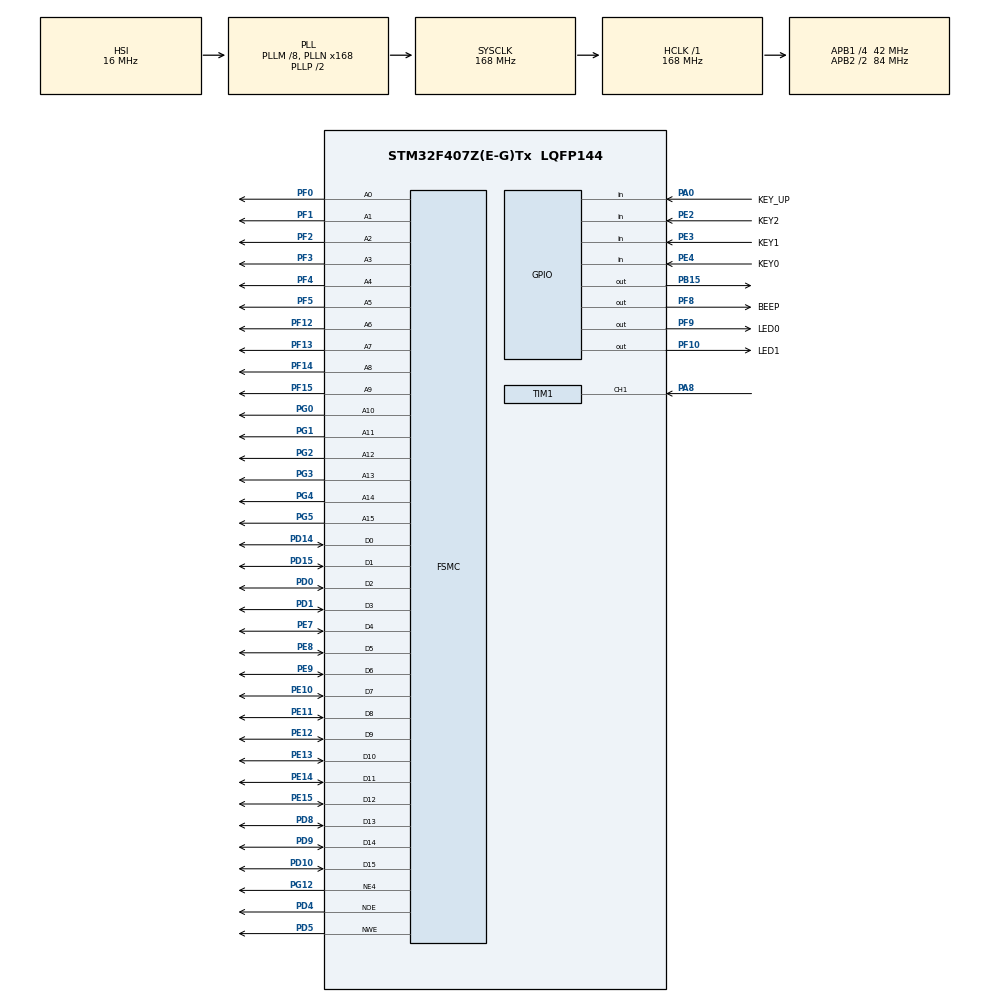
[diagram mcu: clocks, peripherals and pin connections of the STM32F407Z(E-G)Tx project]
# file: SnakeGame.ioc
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FREERTOS.Tasks01=GameTask,0,128,StartDefaultTask,Default,NULL,Dynamic,NULL,NULL;KeyTask,1,128,StartTask02,Default,NULL,Dynamic,NULL,NULL;BuzzerTask,-3,128,StartTask03,Default,NULL,Dynamic,NULL,NULL
FSMC.BusTurnAroundDuration4=0
FSMC.DataSetupTime4=60
FSMC.ExtendedMode4=FSMC_EXTENDED_MODE_DISABLE
FSMC.WriteOperation4=FSMC_WRITE_OPERATION_ENABLE
Mcu.Family=STM32F4
Mcu.Name=STM32F407Z(E-G)Tx
Mcu.Package=LQFP144
NVIC.PriorityGroup=NVIC_PRIORITYGROUP_4
NVIC.TIM1_CC_IRQn=true\:5\:0\:false\:false\:true\:true\:true\:true\:true
NVIC.TIM1_UP_TIM10_IRQn=true\:5\:0\:false\:false\:true\:true\:true\:true\:true
NVIC.TIM3_IRQn=true\:5\:0\:false\:false\:true\:true\:true\:true\:true
NVIC.TIM4_IRQn=true\:15\:0\:false\:false\:true\:false\:false\:true\:true
NVIC.TimeBase=TIM4_IRQn
NVIC.TimeBaseIP=TIM4
PA0-WKUP.GPIO_Label=KEY_UP
PA0-WKUP.GPIO_PuPd=GPIO_PULLDOWN
PA0-WKUP.Signal=GPIO_Input
PA13.Mode=Serial_Wire
PA13.Signal=SYS_JTMS-SWDIO
PA14.Mode=Serial_Wire
PA14.Signal=SYS_JTCK-SWCLK
PA8.Signal=S_TIM1_CH1
PB15.Signal=GPIO_Output
PD0.Signal=FSMC_D2_DA2
PD1.Signal=FSMC_D3_DA3
PD10.Signal=FSMC_D15_DA15
PD14.Signal=FSMC_D0_DA0
PD15.Signal=FSMC_D1_DA1
PD4.Signal=FSMC_NOE
PD5.Signal=FSMC_NWE
PD8.Signal=FSMC_D13_DA13
PD9.Signal=FSMC_D14_DA14
PE10.Signal=FSMC_D7_DA7
PE11.Signal=FSMC_D8_DA8
PE12.Signal=FSMC_D9_DA9
PE13.Signal=FSMC_D10_DA10
PE14.Signal=FSMC_D11_DA11
PE15.Signal=FSMC_D12_DA12
PE2.GPIO_Label=KEY2
PE2.GPIO_PuPd=GPIO_PULLUP
PE2.Signal=GPIO_Input
PE3.GPIO_Label=KEY1
PE3.GPIO_PuPd=GPIO_PULLUP
PE3.Signal=GPIO_Input
PE4.GPIO_Label=KEY0
PE4.GPIO_PuPd=GPIO_PULLUP
PE4.Signal=GPIO_Input
PE7.Signal=FSMC_D4_DA4
PE8.Signal=FSMC_D5_DA5
PE9.Signal=FSMC_D6_DA6
PF0.Signal=FSMC_A0
PF1.Signal=FSMC_A1
PF10.GPIO_Label=LED1
PF10.GPIO_Speed=GPIO_SPEED_FREQ_HIGH
PF10.PinState=GPIO_PIN_SET
PF10.Signal=GPIO_Output
PF12.Signal=FSMC_A6
PF13.Signal=FSMC_A7
PF14.Signal=FSMC_A8
PF15.Signal=FSMC_A9
PF2.Signal=FSMC_A2
PF3.Signal=FSMC_A3
PF4.Signal=FSMC_A4
PF5.Signal=FSMC_A5
PF8.GPIO_Label=BEEP
PF8.GPIO_PuPd=GPIO_PULLUP
PF8.Signal=GPIO_Output
PF9.GPIO_Label=LED0
PF9.GPIO_Speed=GPIO_SPEED_FREQ_HIGH
PF9.PinState=GPIO_PIN_SET
PF9.Signal=GPIO_Output
PG0.Signal=FSMC_A10
PG1.Signal=FSMC_A11
PG12.Mode=NorPsramChipSelect4_4
PG12.Signal=FSMC_NE4
PG2.Signal=FSMC_A12
PG3.Signal=FSMC_A13
PG4.Signal=FSMC_A14
PG5.Signal=FSMC_A15
PH0-OSC_IN.Mode=HSE-External-Oscillator
PH0-OSC_IN.Signal=RCC_OSC_IN
PH1-OSC_OUT.Mode=HSE-External-Oscillator
PH1-OSC_OUT.Signal=RCC_OSC_OUT
ProjectManager.HeapSize=0x200
ProjectManager.StackSize=0x400
ProjectManager.TargetToolchain=CMake
RCC.48MHZClocksFreq_Value=84000000
RCC.AHBFreq_Value=168000000
RCC.APB1CLKDivider=RCC_HCLK_DIV4
RCC.APB1Freq_Value=42000000
RCC.APB1TimFreq_Value=84000000
RCC.APB2CLKDivider=RCC_HCLK_DIV2
RCC.APB2Freq_Value=84000000
RCC.APB2TimFreq_Value=168000000
RCC.CortexFreq_Value=168000000
RCC.HCLKFreq_Value=168000000
RCC.HSE_VALUE=25000000
RCC.HSI_VALUE=16000000
RCC.LSE_VALUE=32768
RCC.PLLM=8
RCC.PLLN=168
RCC.SYSCLKFreq_VALUE=168000000
RCC.SYSCLKSource=RCC_SYSCLKSOURCE_PLLCLK
RCC.VCOOutputFreq_Value=336000000
SH.FSMC_A0.0=FSMC_A0,16b-a4
SH.FSMC_A1.0=FSMC_A1,16b-a4
SH.FSMC_A10.0=FSMC_A10,16b-a4
SH.FSMC_A11.0=FSMC_A11,16b-a4
SH.FSMC_A12.0=FSMC_A12,16b-a4
SH.FSMC_A13.0=FSMC_A13,16b-a4
SH.FSMC_A14.0=FSMC_A14,16b-a4
SH.FSMC_A15.0=FSMC_A15,16b-a4
SH.FSMC_A2.0=FSMC_A2,16b-a4
SH.FSMC_A3.0=FSMC_A3,16b-a4
SH.FSMC_A4.0=FSMC_A4,16b-a4
SH.FSMC_A5.0=FSMC_A5,16b-a4
SH.FSMC_A6.0=FSMC_A6,16b-a4
SH.FSMC_A7.0=FSMC_A7,16b-a4
SH.FSMC_A8.0=FSMC_A8,16b-a4
SH.FSMC_A9.0=FSMC_A9,16b-a4
SH.FSMC_D0_DA0.0=FSMC_D0,16b-d4
SH.FSMC_D10_DA10.0=FSMC_D10,16b-d4
SH.FSMC_D11_DA11.0=FSMC_D11,16b-d4
SH.FSMC_D12_DA12.0=FSMC_D12,16b-d4
SH.FSMC_D13_DA13.0=FSMC_D13,16b-d4
SH.FSMC_D14_DA14.0=FSMC_D14,16b-d4
SH.FSMC_D15_DA15.0=FSMC_D15,16b-d4
SH.FSMC_D1_DA1.0=FSMC_D1,16b-d4
SH.FSMC_D2_DA2.0=FSMC_D2,16b-d4
SH.FSMC_D3_DA3.0=FSMC_D3,16b-d4
SH.FSMC_D4_DA4.0=FSMC_D4,16b-d4
SH.FSMC_D5_DA5.0=FSMC_D5,16b-d4
SH.FSMC_D6_DA6.0=FSMC_D6,16b-d4
SH.FSMC_D7_DA7.0=FSMC_D7,16b-d4
SH.FSMC_D8_DA8.0=FSMC_D8,16b-d4
SH.FSMC_D9_DA9.0=FSMC_D9,16b-d4
SH.FSMC_NOE.0=FSMC_NOE,Sram4
SH.FSMC_NWE.0=FSMC_NWE,Sram4
SH.S_TIM1_CH1.0=TIM1_CH1,Input_Capture1_from_TI1
TIM1.Channel-Input_Capture1_from_TI1=TIM_CHANNEL_1
TIM1.Period=10000
TIM1.Prescaler=168-1
TIM3.Period=3499
TIM3.Prescaler=8399
VP_FREERTOS_VS_CMSIS_V1.Mode=CMSIS_V1
VP_SYS_VS_tim4.Mode=TIM4
VP_TIM3_VS_ClockSourceINT.Mode=Internal
board=custom

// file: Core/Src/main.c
/* USER CODE BEGIN Header */
/**
  ******************************************************************************
  * @file           : main.c
  * @brief          : 贪吃蛇 FreeRTOS 满血版 (含死亡、复活、音效、红外解码)
  ******************************************************************************
  */
/* USER CODE END Header */
#include "main.h"
#include "cmsis_os.h"
#include "tim.h"
#include "gpio.h"
#include "fsmc.h"

void SystemClock_Config(void);
void MX_FREERTOS_Init(void);

/* USER CODE BEGIN 0 */
// ==========================================================
// 贪吃蛇游戏引擎核心逻辑
// ==========================================================
#include "lcd.h"
#include "delay.h"
#include <stdlib.h>  // 用于 rand() 随机数生成

#define BLOCK_SIZE 10   // 蛇身和食物的大小 (10x10像素)
#define MAX_X 240       // 屏幕宽度
#define MAX_Y 320       // 屏幕高度
#define MAX_LEN 100     // 蛇的最大长度

// 定义方向枚举
typedef enum { UP, DOWN, LEFT, RIGHT } Dir;

// 定义蛇的结构体
struct {
    int x[MAX_LEN];
    int y[MAX_LEN];
    int len;
    Dir dir;
} snake;

int food_x, food_y;
int is_dead = 0;        // 游戏死亡标志位 (0: 活着, 1: 挂了)
int beep_cmd = 0;       // 蜂鸣器音效指令 (0: 安静, 1: 吃苹果单响, 2: 死亡双响)

// ==========================================================
// 红外遥控器 (NEC协议) 解码核心数据
// ==========================================================
uint8_t  IR_State = 0;       // 状态机标志 (0:等上升沿, 1:等下降沿)
uint32_t IR_Time = 0;        // 捕获到的脉宽时间 (单位:us)
uint32_t IR_Data_Temp = 0;   // 临时接收的数据
uint8_t  IR_Bit_Count = 0;   // 已接收的比特位数
uint8_t  IR_Data_Ready = 0;  // 一帧数据接收完成标志 (1:完成)
uint32_t IR_Final_Data = 0;  // 最终解码出的 32位 完整数据

// ⚠️ 注意：这里的键值需要根据你实际遥控器进行修改 (Debug模式看 IR_Final_Data 的值)
#define IR_BTN_UP    0x00FF629D  // "上/CH+" 键
#define IR_BTN_DOWN  0x00FFA857  // "下/CH-" 键
#define IR_BTN_LEFT  0x00FF22DD  // "左/|<<" 键
#define IR_BTN_RIGHT 0x00FFC23D  // "右/>>|" 键
#define IR_BTN_OK    0x00FF02FD  // "OK/播放" 键 (用于复活)

// 捕获中断回调函数：用于测量高电平脉宽
void HAL_TIM_IC_CaptureCallback(TIM_HandleTypeDef *htim) {
    if (htim->Instance == TIM1 && htim->Channel == HAL_TIM_ACTIVE_CHANNEL_1) {
        if (IR_State == 0) {
            __HAL_TIM_SET_COUNTER(htim, 0);
            __HAL_TIM_SET_CAPTUREPOLARITY(htim, TIM_CHANNEL_1, TIM_INPUTCHANNELPOLARITY_FALLING);
            IR_State = 1;
        } else if (IR_State == 1) {
            IR_Time = HAL_TIM_ReadCapturedValue(htim, TIM_CHANNEL_1);
            __HAL_TIM_SET_CAPTUREPOLARITY(htim, TIM_CHANNEL_1, TIM_INPUTCHANNELPOLARITY_RISING);
            IR_State = 0;

            if (IR_Time > 4000 && IR_Time < 5000) {
                IR_Data_Temp = 0;
                IR_Bit_Count = 0;
            } else if (IR_Time > 1300 && IR_Time < 2000) {
                IR_Data_Temp = (IR_Data_Temp << 1) | 1;
                IR_Bit_Count++;
            } else if (IR_Time > 300 && IR_Time < 800) {
                IR_Data_Temp = (IR_Data_Temp << 1) | 0;
                IR_Bit_Count++;
            }

            if (IR_Bit_Count >= 32) {
                IR_Final_Data = IR_Data_Temp;
                IR_Data_Ready = 1;
                IR_Bit_Count = 0;
            }
        }
    }
}

void game_init(void);

// 基础画图函数
void draw_block(int x, int y, uint16_t color) {
    lcd_fill(x, y, x + BLOCK_SIZE - 1, y + BLOCK_SIZE - 1, color);
}

// 随机生成食物
void spawn_food() {
    food_x = (rand() % (MAX_X / BLOCK_SIZE)) * BLOCK_SIZE;
    food_y = (rand() % (MAX_Y / BLOCK_SIZE)) * BLOCK_SIZE;
    draw_block(food_x, food_y, GREEN);
}

// 物理按键与红外遥控综合扫描 (供 FreeRTOS 大厨二号调用)
void key_scan() {
    // 1. 处理红外遥控器输入
    if (IR_Data_Ready) {
        IR_Data_Ready = 0;
        if (is_dead) {
            if (IR_Final_Data == IR_BTN_OK) {
                game_init();
                return;
            }
        } else {
            if (IR_Final_Data == IR_BTN_UP && snake.dir != DOWN)         snake.dir = UP;
            else if (IR_Final_Data == IR_BTN_DOWN && snake.dir != UP)    snake.dir = DOWN;
            else if (IR_Final_Data == IR_BTN_LEFT && snake.dir != RIGHT) snake.dir = LEFT;
            else if (IR_Final_Data == IR_BTN_RIGHT && snake.dir != LEFT) snake.dir = RIGHT;
        }
    }

    // 2. 原有的物理按键输入 (双模控制)
    if (HAL_GPIO_ReadPin(GPIOA, GPIO_PIN_0) == GPIO_PIN_SET) {
        if (is_dead) {
            game_init();
            return;
        }
        if (snake.dir != DOWN) snake.dir = UP;
    } else if (!is_dead) {
        if (HAL_GPIO_ReadPin(GPIOE, GPIO_PIN_3) == GPIO_PIN_RESET) {
            if (snake.dir != UP) snake.dir = DOWN;
        } else if (HAL_GPIO_ReadPin(GPIOE, GPIO_PIN_2) == GPIO_PIN_RESET) {
            if (snake.dir != RIGHT) snake.dir = LEFT;
        } else if (HAL_GPIO_ReadPin(GPIOE, GPIO_PIN_4) == GPIO_PIN_RESET) {
            if (snake.dir != LEFT) snake.dir = RIGHT;
        }
    }
}

// 游戏初始化 (供 FreeRTOS 画面任务调用)
void game_init() {
    lcd_clear(BLACK);
    snake.len = 3;
    snake.dir = RIGHT;
    snake.x[0] = 100; snake.y[0] = 100;
    snake.x[1] = 90;  snake.y[1] = 100;
    snake.x[2] = 80;  snake.y[2] = 100;

    is_dead = 0;
    spawn_food();
}

// 游戏物理帧更新 (供 FreeRTOS 画面任务调用)
void game_update() {
    if (is_dead) return;

    draw_block(snake.x[snake.len - 1], snake.y[snake.len - 1], BLACK);

    for (int i = snake.len - 1; i > 0; i--) {
        snake.x[i] = snake.x[i - 1];
        snake.y[i] = snake.y[i - 1];
    }

    if (snake.dir == UP)    snake.y[0] -= BLOCK_SIZE;
    if (snake.dir == DOWN)  snake.y[0] += BLOCK_SIZE;
    if (snake.dir == LEFT)  snake.x[0] -= BLOCK_SIZE;
    if (snake.dir == RIGHT) snake.x[0] += BLOCK_SIZE;

    if (snake.x[0] < 0 || snake.x[0] >= MAX_X || snake.y[0] < 0 || snake.y[0] >= MAX_Y) {
        is_dead = 1;
    }

    for (int i = 1; i < snake.len; i++) {
        if (snake.x[0] == snake.x[i] && snake.y[0] == snake.y[i]) {
            is_dead = 1;
        }
    }

    if (is_dead) {
        beep_cmd = 2; // 发射死亡音效指令
        lcd_show_string(60, 130, 200, 16, 16, "GAME OVER!", RED);
        lcd_show_string(30, 160, 200, 16, 16, "Press WK_UP to Retry", WHITE);
        return;
    }

    if (snake.x[0] == food_x && snake.y[0] == food_y) {
        if (snake.len < MAX_LEN) snake.len++;
        spawn_food();
        beep_cmd = 1; // 发射吃苹果音效指令
    }

    draw_block(snake.x[0], snake.y[0], RED);
    draw_block(snake.x[1], snake.y[1], WHITE);
}

int get_snake_len(void) {
    return snake.len;
}
/* USER CODE END 0 */

int main(void)
{
  /* MCU Configuration--------------------------------------------------------*/
  HAL_Init();

  /* Configure the system clock */
  SystemClock_Config();

  /* Initialize all configured peripherals */
  MX_GPIO_Init();
  MX_FSMC_Init();
  MX_TIM3_Init();
  MX_TIM1_Init();

    /* USER CODE BEGIN 2 */
    // 💡 把它们放回这里！在操作系统接管 CPU 之前，把底层外设全弄好！
    delay_init(168);
    lcd_init();
    HAL_GPIO_WritePin(GPIOB, GPIO_PIN_15, GPIO_PIN_SET);

    srand(HAL_GetTick()); // 设置随机数种子

    // ⚠️ 警告：为了防止红外引脚悬空产生干扰，红外这两句务必先保持注释！
    // 等贪吃蛇彻底能动了，我们再去动红外！
    HAL_TIM_IC_Start_IT(&htim1, TIM_CHANNEL_1);
    __HAL_TIM_ENABLE_IT(&htim1, TIM_IT_UPDATE);
    /* USER CODE END 2 */

    /* Call init function for freertos objects (in cmsis_os2.c) */
    MX_FREERTOS_Init();

    /* Start scheduler */
    osKernelStart();

  /* We should never get here as control is now taken by the scheduler */
  while (1)
  {
  }
}

void SystemClock_Config(void)
{
  RCC_OscInitTypeDef RCC_OscInitStruct = {0};
  RCC_ClkInitTypeDef RCC_ClkInitStruct = {0};

  __HAL_RCC_PWR_CLK_ENABLE();
  __HAL_PWR_VOLTAGESCALING_CONFIG(PWR_REGULATOR_VOLTAGE_SCALE1);

  RCC_OscInitStruct.OscillatorType = RCC_OSCILLATORTYPE_HSI;
  RCC_OscInitStruct.HSIState = RCC_HSI_ON;
  RCC_OscInitStruct.HSICalibrationValue = RCC_HSICALIBRATION_DEFAULT;
  RCC_OscInitStruct.PLL.PLLState = RCC_PLL_ON;
  RCC_OscInitStruct.PLL.PLLSource = RCC_PLLSOURCE_HSI;
  RCC_OscInitStruct.PLL.PLLM = 8;
  RCC_OscInitStruct.PLL.PLLN = 168;
  RCC_OscInitStruct.PLL.PLLP = RCC_PLLP_DIV2;
  RCC_OscInitStruct.PLL.PLLQ = 4;
  if (HAL_RCC_OscConfig(&RCC_OscInitStruct) != HAL_OK)
  {
    Error_Handler();
  }

  RCC_ClkInitStruct.ClockType = RCC_CLOCKTYPE_HCLK|RCC_CLOCKTYPE_SYSCLK
                              |RCC_CLOCKTYPE_PCLK1|RCC_CLOCKTYPE_PCLK2;
  RCC_ClkInitStruct.SYSCLKSource = RCC_SYSCLKSOURCE_PLLCLK;
  RCC_ClkInitStruct.AHBCLKDivider = RCC_SYSCLK_DIV1;
  RCC_ClkInitStruct.APB1CLKDivider = RCC_HCLK_DIV4;
  RCC_ClkInitStruct.APB2CLKDivider = RCC_HCLK_DIV2;

  if (HAL_RCC_ClockConfig(&RCC_ClkInitStruct, FLASH_LATENCY_5) != HAL_OK)
  {
    Error_Handler();
  }
}

void HAL_TIM_PeriodElapsedCallback(TIM_HandleTypeDef *htim)
{
  if (htim->Instance == TIM4)
  {
    HAL_IncTick();
  }
  /* USER CODE BEGIN Callback 1 */
    // 红外接收超时复位逻辑
    if (htim->Instance == TIM1) {
        extern uint8_t IR_State;
        IR_State = 0;
        __HAL_TIM_SET_CAPTUREPOLARITY(htim, TIM_CHANNEL_1, TIM_INPUTCHANNELPOLARITY_RISING);
    }
  /* USER CODE END Callback 1 */
}

void Error_Handler(void)
{
  __disable_irq();
  while (1)
  {
  }
}

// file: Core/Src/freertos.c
/* USER CODE BEGIN Header */
/**
  ******************************************************************************
  * File Name          : freertos.c
  * Description        : 贪吃蛇 FreeRTOS 任务调度器 (三线程并行架构)
  ******************************************************************************
  */
/* USER CODE END Header */

#include "FreeRTOS.h"
#include "task.h"
#include "main.h"
#include "cmsis_os.h"

/* USER CODE BEGIN Includes */
extern void game_init(void);
extern void game_update(void);
extern void key_scan(void);
extern int get_snake_len(void);
extern int beep_cmd;

// 💡 声明外部的屏幕和延时初始化函数
extern void delay_init(uint8_t SYSCLK);
extern void lcd_init(void);
/* USER CODE END Includes */

osThreadId GameTaskHandle;
osThreadId KeyTaskHandle;
osThreadId BuzzerTaskHandle;

void StartGameTask(void const * argument);
void StartKeyTask(void const * argument);
void StartBuzzerTask(void const * argument);

void MX_FREERTOS_Init(void); /* (MISRA C 2004 rule 8.1) */

void MX_FREERTOS_Init(void) {
  /* Create the thread(s) */
  /* definition and creation of GameTask */
  osThreadDef(GameTask, StartGameTask, osPriorityNormal, 0, 256); // 建议堆栈给256
  GameTaskHandle = osThreadCreate(osThread(GameTask), NULL);

  /* definition and creation of KeyTask */
  osThreadDef(KeyTask, StartKeyTask, osPriorityAboveNormal, 0, 128);
  KeyTaskHandle = osThreadCreate(osThread(KeyTask), NULL);

  /* definition and creation of BuzzerTask */
  osThreadDef(BuzzerTask, StartBuzzerTask, osPriorityNormal, 0, 128);
  BuzzerTaskHandle = osThreadCreate(osThread(BuzzerTask), NULL);
}

/* USER CODE BEGIN Header_StartGameTask */
/**
  * @brief  大厨一号：游戏画面刷新任务
  */
/* USER CODE END Header_StartGameTask */
void StartGameTask(void const * argument)
{
  /* USER CODE BEGIN StartGameTask */

  game_init(); // 任务开始前，先初始化第一局游戏画面

  /* Infinite loop */
  for(;;)
  {
    game_update(); // 算一帧，画一帧

    // 动态难度核心算法
    int current_delay = 400 - (get_snake_len() - 3) * 10;
    if (current_delay < 60) {
      current_delay = 60;
    }
    osDelay(current_delay);
  }
  /* USER CODE END StartGameTask */
}

/* USER CODE BEGIN Header_StartKeyTask */
/**
* @brief 大厨二号：按键极速扫描任务
*/
/* USER CODE END Header_StartKeyTask */
void StartKeyTask(void const * argument)
{
  /* USER CODE BEGIN StartKeyTask */
  /* Infinite loop */
  for(;;)
  {
    key_scan();
    osDelay(20);
  }
  /* USER CODE END StartKeyTask */
}

/* USER CODE BEGIN Header_StartBuzzerTask */
/**
* @brief 大厨三号：专门负责控制蜂鸣器发声的任务
*/
/* USER CODE END Header_StartBuzzerTask */
void StartBuzzerTask(void const * argument)
{
  /* USER CODE BEGIN StartBuzzerTask */
  /* Infinite loop */
  for(;;)
  {
    if (beep_cmd == 1) {
        HAL_GPIO_WritePin(GPIOF, GPIO_PIN_8, GPIO_PIN_SET);
        osDelay(50);
        HAL_GPIO_WritePin(GPIOF, GPIO_PIN_8, GPIO_PIN_RESET);
        beep_cmd = 0;
    }
    else if (beep_cmd == 2) {
        HAL_GPIO_WritePin(GPIOF, GPIO_PIN_8, GPIO_PIN_SET);
        osDelay(150);
        HAL_GPIO_WritePin(GPIOF, GPIO_PIN_8, GPIO_PIN_RESET);

        osDelay(100);

        HAL_GPIO_WritePin(GPIOF, GPIO_PIN_8, GPIO_PIN_SET);
        osDelay(300);
        HAL_GPIO_WritePin(GPIOF, GPIO_PIN_8, GPIO_PIN_RESET);
        beep_cmd = 0;
    }
    osDelay(20);
  }
  /* USER CODE END StartBuzzerTask */
}

/* USER CODE BEGIN GET_IDLE_TASK_MEMORY */
static StaticTask_t xIdleTaskTCBBuffer;
static StackType_t xIdleStack[configMINIMAL_STACK_SIZE];

void vApplicationGetIdleTaskMemory( StaticTask_t **ppxIdleTaskTCBBuffer, StackType_t **ppxIdleTaskStackBuffer, uint32_t *pulIdleTaskStackSize )
{
  *ppxIdleTaskTCBBuffer = &xIdleTaskTCBBuffer;
  *ppxIdleTaskStackBuffer = &xIdleStack[0];
  *pulIdleTaskStackSize = configMINIMAL_STACK_SIZE;
}
/* USER CODE END GET_IDLE_TASK_MEMORY */
